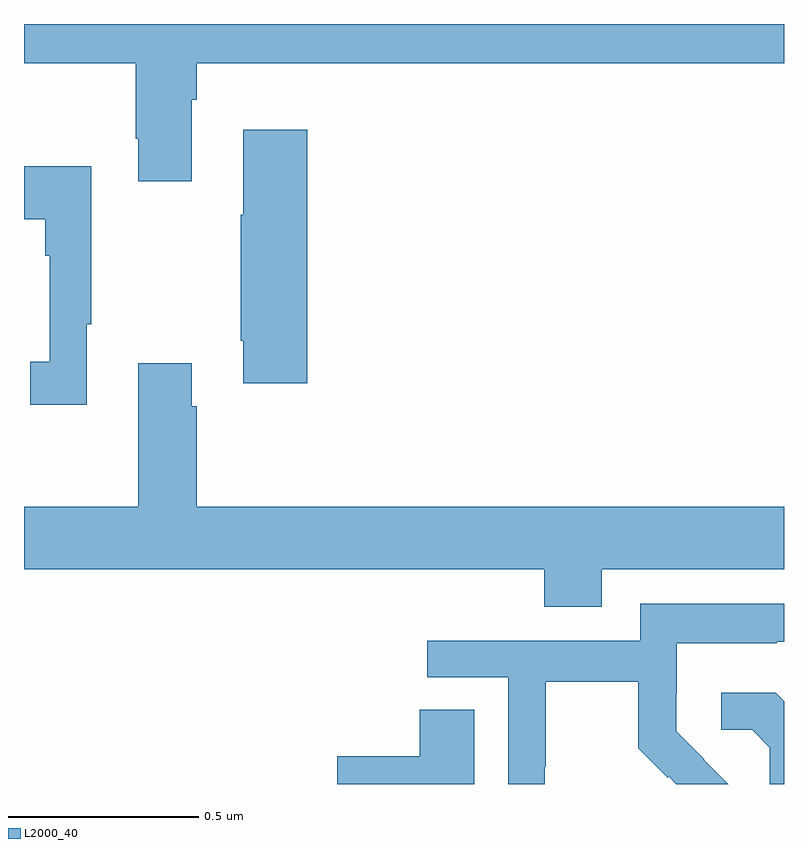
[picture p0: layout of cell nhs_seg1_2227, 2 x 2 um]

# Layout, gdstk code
import gdstk
lib = gdstk.Library(unit=1e-6, precision=1e-09)
def P(c, l, *ps):  # polygons
    for p in ps: c.add(gdstk.Polygon(p, *l))
L2000_40 = (2000, 40)

nhs_seg1_2227 = lib.new_cell('nhs_seg1_2227')
P(nhs_seg1_2227, L2000_40, [(139.441,521),(139.454,521),(139.454,521.096),(141,521.096),(141,521.199),(139,521.199),(139,521.096),(139.294,521.096),(139.294,520.897),(139.301,520.897),(139.301,520.785),(139.441,520.785)],
  [(139.745,520.921),(139.577,520.921),(139.577,520.697),(139.57,520.697),(139.57,520.366),(139.577,520.366),(139.577,520.254),(139.745,520.254)],
  [(139.165,520.409),(139.177,520.409),(139.177,520.825),(139,520.825),(139,520.685),(139.056,520.685),(139.056,520.589),(139.068,520.589),(139.068,520.31),(139.017,520.31),(139.017,520.197),(139.165,520.197)],
  [(140.521,519.764),(141,519.764),(141,519.928),(139.454,519.928),(139.454,520.193),(139.441,520.193),(139.441,520.306),(139.301,520.306),(139.301,519.928),(139,519.928),(139,519.764),(140.369,519.764),(140.369,519.665),(140.521,519.665)],
  [(140.37,519.244),(140.373,519.244),(140.373,519.468),(140.617,519.468),(140.617,519.293),(140.694,519.216),(140.697,519.219),(140.717,519.199),(140.853,519.199),(140.789,519.263),(140.79,519.264),(140.716,519.338),(140.716,519.435),(140.718,519.435),(140.718,519.569),(140.981,519.569),(140.981,519.573),(141,519.573),(141,519.673),(140.622,519.673),(140.622,519.576),(140.061,519.576),(140.061,519.48),(140.274,519.48),(140.274,519.199),(140.37,519.199)],
  [(141,519.417),(140.978,519.439),(140.835,519.439),(140.835,519.342),(140.916,519.342),(140.963,519.295),(140.963,519.199),(141,519.199)],
  [(140.185,519.395),(140.042,519.395),(140.042,519.272),(139.824,519.272),(139.824,519.199),(140.185,519.199)])

lib.write_gds('nhs_seg1_2227.gds')
